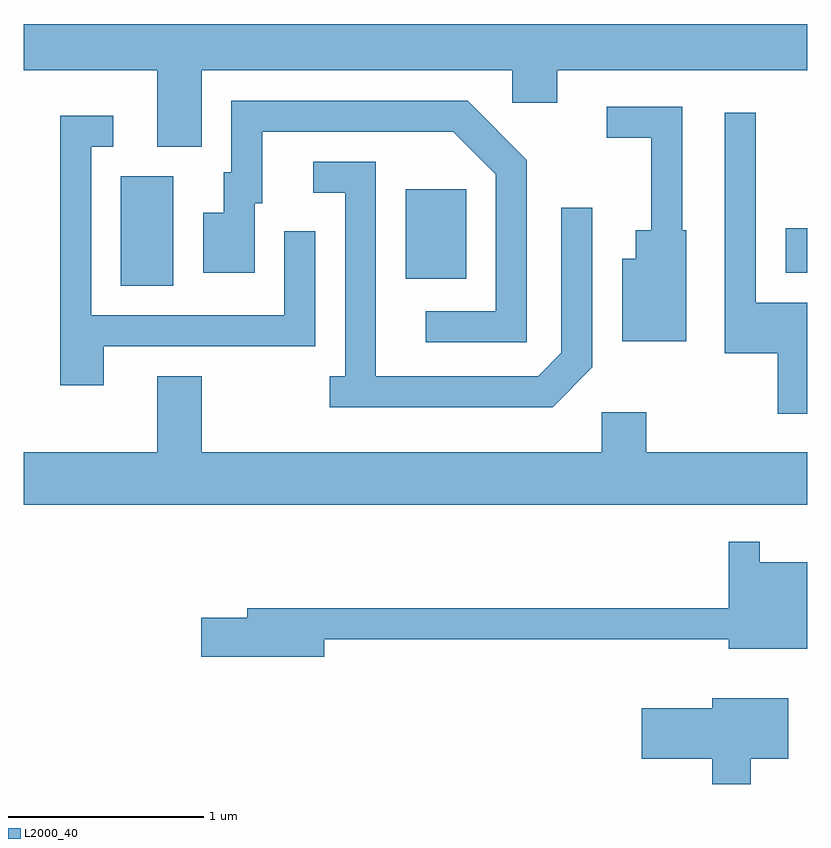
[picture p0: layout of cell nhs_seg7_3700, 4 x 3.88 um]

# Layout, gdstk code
import gdstk
lib = gdstk.Library(unit=1e-6, precision=1e-09)
def R(c, l, rs):  # rectangles x0, y0, x1, y1
    for r in rs: c.add(gdstk.rectangle(r[:2], r[2:], *l))
def P(c, l, *ps):  # polygons
    for p in ps: c.add(gdstk.Polygon(p, *l))
L2000_40 = (2000, 40)

nhs_seg7_3700 = lib.new_cell('nhs_seg7_3700')
R(nhs_seg7_3700, L2000_40, [(298.106,1790.916,298.374,1791.474), (299.561,1790.951,299.869,1791.409), (301.501,1790.981,301.611,1791.209)])
P(nhs_seg7_3700, L2000_40, [(298.519,1792.016),(300.106,1792.016),(300.106,1791.851),(300.334,1791.851),(300.334,1792.016),(301.611,1792.016),(301.611,1792.252),(297.611,1792.252),(297.611,1792.016),(298.291,1792.016),(298.291,1791.626),(298.519,1791.626)],
  [(300.179,1791.557),(299.877,1791.859),(298.671,1791.859),(298.671,1791.494),(298.631,1791.494),(298.631,1791.289),(298.526,1791.289),(298.526,1790.981),(298.789,1790.981),(298.789,1791.336),(298.829,1791.336),(298.829,1791.701),(299.804,1791.701),(300.021,1791.484),(300.021,1790.784),(299.663,1790.784),(299.663,1790.626),(300.179,1790.626)],
  [(300.994,1791.199),(300.974,1791.199),(300.974,1791.829),(300.588,1791.829),(300.588,1791.671),(300.816,1791.671),(300.816,1791.199),(300.736,1791.199),(300.736,1791.054),(300.666,1791.054),(300.666,1790.631),(300.994,1790.631)],
  [(301.611,1790.829),(301.349,1790.829),(301.349,1791.798),(301.191,1791.798),(301.191,1790.571),(301.461,1790.571),(301.461,1790.261),(301.611,1790.261)],
  [(298.019,1790.606),(299.099,1790.606),(299.099,1791.193),(298.941,1791.193),(298.941,1790.764),(297.954,1790.764),(297.954,1791.626),(298.068,1791.626),(298.068,1791.784),(297.796,1791.784),(297.796,1790.406),(298.019,1790.406)],
  [(300.514,1790.499),(300.514,1791.313),(300.356,1791.313),(300.356,1790.572),(300.239,1790.454),(299.409,1790.454),(299.409,1791.549),(299.088,1791.549),(299.088,1791.391),(299.251,1791.391),(299.251,1790.454),(299.173,1790.454),(299.173,1790.296),(300.312,1790.296)],
  [(301.611,1790.064),(300.789,1790.064),(300.789,1790.269),(300.561,1790.269),(300.561,1790.064),(298.519,1790.064),(298.519,1790.454),(298.291,1790.454),(298.291,1790.064),(297.611,1790.064),(297.611,1789.796),(301.611,1789.796)],
  [(299.144,1789.111),(301.211,1789.111),(301.211,1789.061),(301.611,1789.061),(301.611,1789.504),(301.369,1789.504),(301.369,1789.608),(301.211,1789.608),(301.211,1789.269),(298.751,1789.269),(298.751,1789.219),(298.516,1789.219),(298.516,1789.021),(299.144,1789.021)],
  [(301.324,1788.501),(301.514,1788.501),(301.514,1788.809),(301.126,1788.809),(301.126,1788.759),(300.766,1788.759),(300.766,1788.501),(301.126,1788.501),(301.126,1788.371),(301.324,1788.371)])

lib.write_gds('nhs_seg7_3700.gds')
